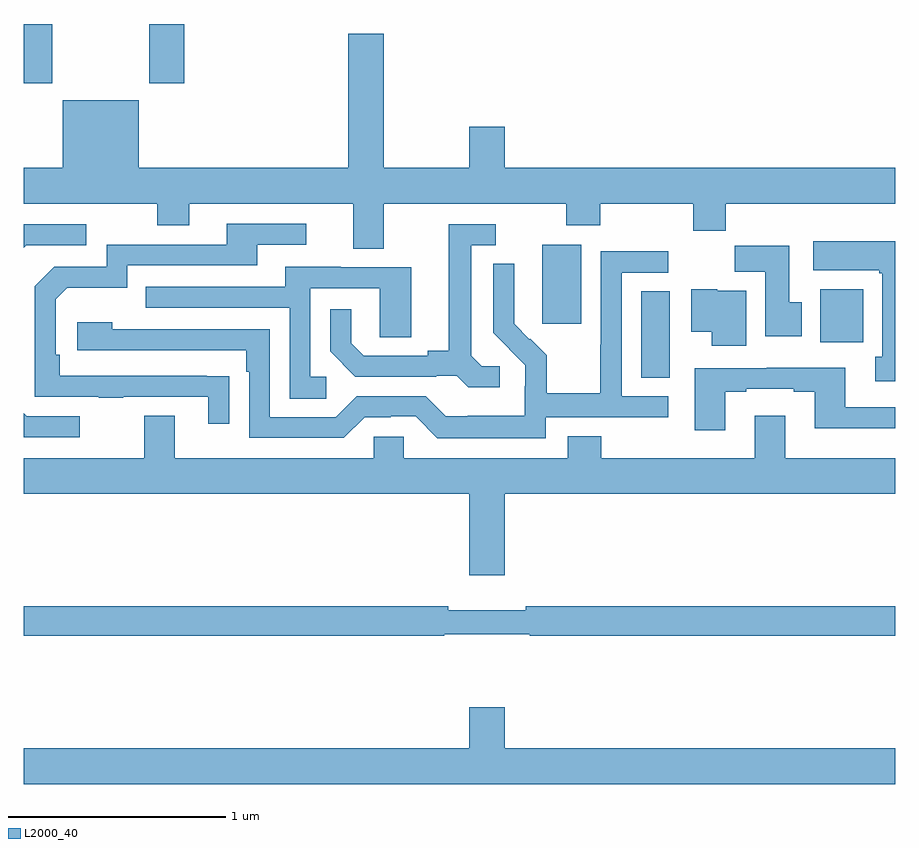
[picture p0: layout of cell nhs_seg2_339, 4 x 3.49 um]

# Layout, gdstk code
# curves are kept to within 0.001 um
import gdstk
lib = gdstk.Library(unit=1e-6, precision=1e-09)
def R(c, l, rs):  # rectangles x0, y0, x1, y1
    for r in rs: c.add(gdstk.rectangle(r[:2], r[2:], *l))
def P(c, l, *ps):  # polygons
    for p in ps: c.add(gdstk.Polygon(p, *l))
L2000_40 = (2000, 40)

nhs_seg2_339 = lib.new_cell('nhs_seg2_339')
R(nhs_seg2_339, L2000_40, [(129.833,640.177,129.964,640.574), (130.655,640.34,130.852,640.582), (129.38,640.425,129.559,640.786), (127,641.529,127.131,641.8), (127.576,641.529,127.736,641.8)])
P(nhs_seg2_339, L2000_40, [(128.653,640.976),(129.489,640.976),(129.489,640.877),(129.645,640.877),(129.645,640.976),(130.072,640.976),(130.072,640.852),(130.223,640.852),(130.223,640.976),(131,640.976),(131,641.14),(129.208,641.14),(129.208,641.329),(129.044,641.329),(129.044,641.14),(128.653,641.14),(128.653,641.755),(128.489,641.755),(128.489,641.14),(127.528,641.14),(127.528,641.449),(127.178,641.449),(127.178,641.14),(127,641.14),(127,640.976),(127.612,640.976),(127.612,640.877),(127.759,640.877),(127.759,640.976),(128.513,640.976),(128.513,640.768),(128.653,640.768)],
  [(127.943,640.184),(127.166,640.185),(127.166,640.282),(127.146,640.282),(127.146,640.536),(127.199,640.589),(127.476,640.589),(127.476,640.692),(128.071,640.692),(128.071,640.788),(128.296,640.788),(128.296,640.884),(127.931,640.884),(127.931,640.788),(127.38,640.788),(127.38,640.686),(127.14,640.686),(127.05,640.596),(127.05,640.089),(127.345,640.089),(127.345,640.084),(127.457,640.084),(127.457,640.089),(127.847,640.089),(127.847,639.966),(127.943,639.966)],
  [(129.184,640.23),(129.102,640.23),(129.055,640.277),(129.055,640.785),(129.166,640.785),(129.166,640.881),(128.951,640.881),(128.951,640.301),(128.855,640.301),(128.855,640.278),(128.56,640.278),(128.503,640.335),(128.503,640.492),(128.406,640.492),(128.406,640.298),(128.522,640.182),(128.894,640.182),(128.894,640.185),(128.988,640.185),(129.04,640.133),(129.184,640.133)],
  [(127.011,640.785),(127.288,640.785),(127.288,640.881),(127,640.881),(127,640.774)],
  [(131,640.804),(130.623,640.804),(130.623,640.67),(130.927,640.67),(130.927,640.657),(130.94,640.657),(130.94,640.274),(130.907,640.274),(130.907,640.161),(131,640.161)],
  [(130.57,640.524),(130.513,640.524),(130.513,640.783),(130.264,640.783),(130.264,640.664),(130.403,640.664),(130.403,640.368),(130.57,640.368)],
  [(129.396,639.996),(129.958,639.996),(129.958,640.092),(129.744,640.092),(129.744,640.659),(129.958,640.659),(129.958,640.758),(129.648,640.758),(129.648,640.328),(129.646,640.328),(129.646,640.105),(129.401,640.105),(129.401,640.279),(129.324,640.356),(129.321,640.353),(129.251,640.424),(129.252,640.7),(129.156,640.7),(129.156,640.382),(129.302,640.234),(129.302,640.137),(129.3,640.137),(129.3,640.003),(129.037,640.003),(129.037,639.999),(128.937,639.999),(128.844,640.092),(128.529,640.092),(128.433,639.996),(128.13,639.996),(128.13,640.398),(127.406,640.398),(127.406,640.432),(127.245,640.432),(127.245,640.302),(128.021,640.302),(128.021,640.205),(128.034,640.205),(128.034,639.9),(128.469,639.9),(128.565,639.996),(128.684,639.996),(128.684,639.999),(128.799,639.999),(128.899,639.899),(129.396,639.899)],
  [(128.389,640.182),(128.316,640.182),(128.316,640.587),(128.634,640.587),(128.634,640.363),(128.779,640.363),(128.779,640.683),(128.455,640.683),(128.455,640.687),(128.201,640.687),(128.201,640.593),(127.561,640.593),(127.561,640.497),(128.22,640.497),(128.22,640.081),(128.389,640.081)],
  [(130.315,640.576),(130.182,640.576),(130.182,640.582),(130.064,640.582),(130.064,640.388),(130.157,640.388),(130.157,640.323),(130.315,640.323)],
  [(130.219,640.113),(130.315,640.113),(130.315,640.125),(130.535,640.125),(130.535,640.113),(130.631,640.113),(130.631,639.944),(131,639.944),(131,640.041),(130.771,640.041),(130.771,640.222),(130.411,640.222),(130.411,640.221),(130.079,640.221),(130.079,639.936),(130.219,639.936)],
  [(127.258,639.999),(127.014,639.999),(127,640.013),(127,639.903),(127.258,639.903)],
  [(129.208,639.644),(131,639.644),(131,639.808),(130.495,639.808),(130.495,640.003),(130.355,640.003),(130.355,639.808),(129.65,639.808),(129.65,639.907),(129.497,639.907),(129.497,639.808),(128.745,639.808),(128.745,639.906),(128.607,639.906),(128.607,639.808),(127.693,639.808),(127.693,640.003),(127.553,640.003),(127.553,639.808),(127,639.808),(127,639.644),(129.044,639.644),(129.044,639.27),(129.208,639.27)],
  [(128.93,639),(129.322,639),(129.322,638.992),(131,638.992),(131,639.128),(129.304,639.128),(129.304,639.109),(128.948,639.109),(128.948,639.128),(127,639.128),(127,638.992),(128.93,638.992)],
  [(131,638.476),(129.208,638.476),(129.208,638.665),(129.044,638.665),(129.044,638.476),(127,638.476),(127,638.312),(131,638.312)])

lib.write_gds('nhs_seg2_339.gds')
